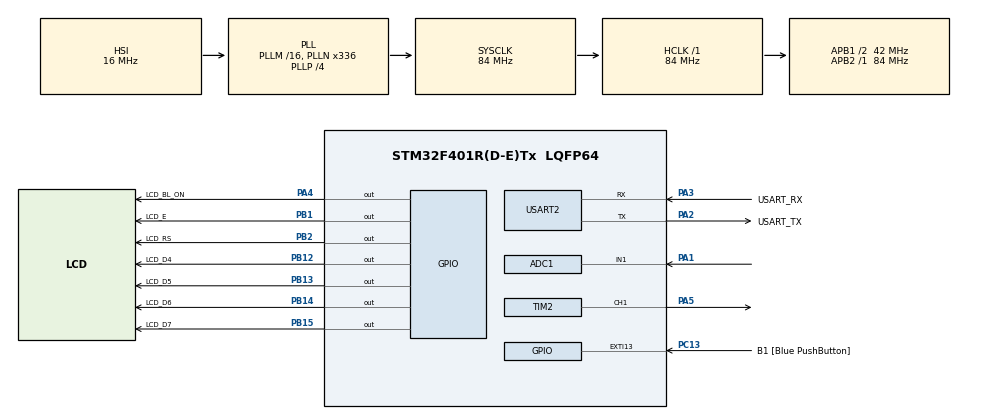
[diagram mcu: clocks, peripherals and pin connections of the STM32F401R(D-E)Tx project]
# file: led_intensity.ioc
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ADC1.Channel-0\#ChannelRegularConversion=ADC_CHANNEL_1
ADC1.ExternalTrigConv=ADC_EXTERNALTRIGCONV_T2_TRGO
ADC1.NbrOfConversionFlag=1
ADC1.Rank-0\#ChannelRegularConversion=1
ADC1.SamplingTime-0\#ChannelRegularConversion=ADC_SAMPLETIME_480CYCLES
ADC1.master=1
Mcu.Family=STM32F4
Mcu.Name=STM32F401R(D-E)Tx
Mcu.Package=LQFP64
NVIC.ADC_IRQn=true\:0\:0\:false\:false\:true\:true\:true\:true
NVIC.PriorityGroup=NVIC_PRIORITYGROUP_0
PA1.Signal=ADCx_IN1
PA13.GPIO_Label=TMS
PA13.Mode=Serial_Wire
PA13.Signal=SYS_JTMS-SWDIO
PA14.GPIO_Label=TCK
PA14.Mode=Serial_Wire
PA14.Signal=SYS_JTCK-SWCLK
PA2.GPIO_Label=USART_TX
PA2.GPIO_Mode=GPIO_MODE_AF_PP
PA2.GPIO_PuPd=GPIO_NOPULL
PA2.GPIO_Speed=GPIO_SPEED_FREQ_LOW
PA2.Mode=Asynchronous
PA2.Signal=USART2_TX
PA3.GPIO_Label=USART_RX
PA3.GPIO_Mode=GPIO_MODE_AF_PP
PA3.GPIO_PuPd=GPIO_NOPULL
PA3.GPIO_Speed=GPIO_SPEED_FREQ_LOW
PA3.Mode=Asynchronous
PA3.Signal=USART2_RX
PA4.GPIO_Label=LCD_BL_ON
PA4.Signal=GPIO_Output
PA5.Signal=S_TIM2_CH1_ETR
PB1.GPIO_Label=LCD_E
PB1.Signal=GPIO_Output
PB12.GPIO_Label=LCD_D4
PB12.Signal=GPIO_Output
PB13.GPIO_Label=LCD_D5
PB13.Signal=GPIO_Output
PB14.GPIO_Label=LCD_D6
PB14.Signal=GPIO_Output
PB15.GPIO_Label=LCD_D7
PB15.Signal=GPIO_Output
PB2.GPIO_Label=LCD_RS
PB2.Signal=GPIO_Output
PB3.GPIO_Label=SWO
PB3.Signal=SYS_JTDO-SWO
PC13-ANTI_TAMP.GPIO_Label=B1 [Blue PushButton]
PC13-ANTI_TAMP.GPIO_ModeDefaultEXTI=GPIO_MODE_IT_FALLING
PC13-ANTI_TAMP.GPIO_PuPd=GPIO_NOPULL
PC13-ANTI_TAMP.Signal=GPXTI13
PC14-OSC32_IN.Mode=LSE-External-Oscillator
PC14-OSC32_IN.Signal=RCC_OSC32_IN
PC15-OSC32_OUT.Mode=LSE-External-Oscillator
PC15-OSC32_OUT.Signal=RCC_OSC32_OUT
PH0\ -\ OSC_IN.Mode=HSE-External-Clock-Source
PH0\ -\ OSC_IN.Signal=RCC_OSC_IN
PH1\ -\ OSC_OUT.Mode=HSE-External-Clock-Source
PH1\ -\ OSC_OUT.Signal=RCC_OSC_OUT
ProjectManager.HeapSize=0x200
ProjectManager.StackSize=0x400
ProjectManager.TargetToolchain=STM32CubeIDE
RCC.48MHZClocksFreq_Value=48000000
RCC.AHBFreq_Value=84000000
RCC.APB1CLKDivider=RCC_HCLK_DIV2
RCC.APB1Freq_Value=42000000
RCC.APB1TimFreq_Value=84000000
RCC.APB2Freq_Value=84000000
RCC.APB2TimFreq_Value=84000000
RCC.CortexFreq_Value=84000000
RCC.HCLKFreq_Value=84000000
RCC.HSE_VALUE=8000000
RCC.HSI_VALUE=16000000
RCC.PLLN=336
RCC.PLLP=RCC_PLLP_DIV4
RCC.PLLQ=7
RCC.SYSCLKFreq_VALUE=84000000
RCC.SYSCLKSource=RCC_SYSCLKSOURCE_PLLCLK
RCC.VCOOutputFreq_Value=336000000
SH.ADCx_IN1.0=ADC1_IN1,IN1
SH.S_TIM2_CH1_ETR.0=TIM2_CH1,PWM Generation1 CH1
TIM2.Channel-PWM\ Generation1\ CH1=TIM_CHANNEL_1
TIM2.Period=199
TIM2.Prescaler=8399
TIM2.TIM_MasterOutputTrigger=TIM_TRGO_UPDATE
TIM3.Period=4999
TIM3.Prescaler=8399
TIM3.TIM_MasterOutputTrigger=TIM_TRGO_UPDATE
USART2.VirtualMode=VM_ASYNC
VP_TIM2_VS_ClockSourceINT.Mode=Internal
VP_TIM3_VS_ClockSourceINT.Mode=Internal
board=NUCLEO-F401RE

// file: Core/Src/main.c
/* USER CODE BEGIN Header */
/**
  ******************************************************************************
  * @file           : main.c
  * @brief          : Main program body
  ******************************************************************************
  * @attention
  *
  * Copyright (c) 2024 STMicroelectronics.
  * All rights reserved.
  *
  * This software is licensed under terms that can be found in the LICENSE file
  * in the root directory of this software component.
  * If no LICENSE file comes with this software, it is provided AS-IS.
  *
  ******************************************************************************
  */
/* USER CODE END Header */
#include "main.h"

/* USER CODE BEGIN Includes */
#include <stdio.h>
#include <string.h>
#include "PMDB16_LCD.h"
/* USER CODE END Includes */

ADC_HandleTypeDef hadc1;

TIM_HandleTypeDef htim2;
TIM_HandleTypeDef htim3;

UART_HandleTypeDef huart2;

void SystemClock_Config(void);
static void MX_GPIO_Init(void);
static void MX_USART2_UART_Init(void);
static void MX_ADC1_Init(void);
static void MX_TIM2_Init(void);
static void MX_TIM3_Init(void);

/* USER CODE BEGIN 0 */
uint32_t value;	 //digital value read from ADC
float voltage;   //variable to contain voltage on ADC, calculated from value
char string[64]; //string to be sent through UART
uint16_t length; //length of string
/* USER CODE END 0 */

int main(void)
{

  /* MCU Configuration--------------------------------------------------------*/

  /* Reset of all peripherals, Initializes the Flash interface and the Systick. */
  HAL_Init();

  /* Configure the system clock */
  SystemClock_Config();

  /* Initialize all configured peripherals */
  MX_GPIO_Init();
  MX_USART2_UART_Init();
  MX_ADC1_Init();
  MX_TIM2_Init();
  MX_TIM3_Init();
  /* USER CODE BEGIN 2 */
  lcd_initialize();
  lcd_backlight_ON();
  HAL_TIM_Base_Start(&htim3);
  HAL_TIM_PWM_Start(&htim2, TIM_CHANNEL_1);
  HAL_ADC_Start_IT(&hadc1);
  /* USER CODE END 2 */

  /* Infinite loop */
  while (1)
  {

  }
}

void SystemClock_Config(void)
{
  RCC_OscInitTypeDef RCC_OscInitStruct = {0};
  RCC_ClkInitTypeDef RCC_ClkInitStruct = {0};

  /** Configure the main internal regulator output voltage
  */
  __HAL_RCC_PWR_CLK_ENABLE();
  __HAL_PWR_VOLTAGESCALING_CONFIG(PWR_REGULATOR_VOLTAGE_SCALE2);

  /** Initializes the RCC Oscillators according to the specified parameters
  * in the RCC_OscInitTypeDef structure.
  */
  RCC_OscInitStruct.OscillatorType = RCC_OSCILLATORTYPE_HSI;
  RCC_OscInitStruct.HSIState = RCC_HSI_ON;
  RCC_OscInitStruct.HSICalibrationValue = RCC_HSICALIBRATION_DEFAULT;
  RCC_OscInitStruct.PLL.PLLState = RCC_PLL_ON;
  RCC_OscInitStruct.PLL.PLLSource = RCC_PLLSOURCE_HSI;
  RCC_OscInitStruct.PLL.PLLM = 16;
  RCC_OscInitStruct.PLL.PLLN = 336;
  RCC_OscInitStruct.PLL.PLLP = RCC_PLLP_DIV4;
  RCC_OscInitStruct.PLL.PLLQ = 7;
  if (HAL_RCC_OscConfig(&RCC_OscInitStruct) != HAL_OK)
  {
    Error_Handler();
  }

  /** Initializes the CPU, AHB and APB buses clocks
  */
  RCC_ClkInitStruct.ClockType = RCC_CLOCKTYPE_HCLK|RCC_CLOCKTYPE_SYSCLK
                              |RCC_CLOCKTYPE_PCLK1|RCC_CLOCKTYPE_PCLK2;
  RCC_ClkInitStruct.SYSCLKSource = RCC_SYSCLKSOURCE_PLLCLK;
  RCC_ClkInitStruct.AHBCLKDivider = RCC_SYSCLK_DIV1;
  RCC_ClkInitStruct.APB1CLKDivider = RCC_HCLK_DIV2;
  RCC_ClkInitStruct.APB2CLKDivider = RCC_HCLK_DIV1;

  if (HAL_RCC_ClockConfig(&RCC_ClkInitStruct, FLASH_LATENCY_2) != HAL_OK)
  {
    Error_Handler();
  }
}

static void MX_ADC1_Init(void)
{

  ADC_ChannelConfTypeDef sConfig = {0};

  /** Configure the global features of the ADC (Clock, Resolution, Data Alignment and number of conversion)
  */
  hadc1.Instance = ADC1;
  hadc1.Init.ClockPrescaler = ADC_CLOCK_SYNC_PCLK_DIV4;
  hadc1.Init.Resolution = ADC_RESOLUTION_12B;
  hadc1.Init.ScanConvMode = DISABLE;
  hadc1.Init.ContinuousConvMode = DISABLE;
  hadc1.Init.DiscontinuousConvMode = DISABLE;
  hadc1.Init.ExternalTrigConvEdge = ADC_EXTERNALTRIGCONVEDGE_RISING;
  hadc1.Init.ExternalTrigConv = ADC_EXTERNALTRIGCONV_T2_TRGO;
  hadc1.Init.DataAlign = ADC_DATAALIGN_RIGHT;
  hadc1.Init.NbrOfConversion = 1;
  hadc1.Init.DMAContinuousRequests = DISABLE;
  hadc1.Init.EOCSelection = ADC_EOC_SINGLE_CONV;
  if (HAL_ADC_Init(&hadc1) != HAL_OK)
  {
    Error_Handler();
  }

  /** Configure for the selected ADC regular channel its corresponding rank in the sequencer and its sample time.
  */
  sConfig.Channel = ADC_CHANNEL_1;
  sConfig.Rank = 1;
  sConfig.SamplingTime = ADC_SAMPLETIME_480CYCLES;
  if (HAL_ADC_ConfigChannel(&hadc1, &sConfig) != HAL_OK)
  {
    Error_Handler();
  }

}

static void MX_TIM2_Init(void)
{

  TIM_ClockConfigTypeDef sClockSourceConfig = {0};
  TIM_MasterConfigTypeDef sMasterConfig = {0};
  TIM_OC_InitTypeDef sConfigOC = {0};

  htim2.Instance = TIM2;
  htim2.Init.Prescaler = 8399;
  htim2.Init.CounterMode = TIM_COUNTERMODE_UP;
  htim2.Init.Period = 199;
  htim2.Init.ClockDivision = TIM_CLOCKDIVISION_DIV1;
  htim2.Init.AutoReloadPreload = TIM_AUTORELOAD_PRELOAD_DISABLE;
  if (HAL_TIM_Base_Init(&htim2) != HAL_OK)
  {
    Error_Handler();
  }
  sClockSourceConfig.ClockSource = TIM_CLOCKSOURCE_INTERNAL;
  if (HAL_TIM_ConfigClockSource(&htim2, &sClockSourceConfig) != HAL_OK)
  {
    Error_Handler();
  }
  if (HAL_TIM_PWM_Init(&htim2) != HAL_OK)
  {
    Error_Handler();
  }
  sMasterConfig.MasterOutputTrigger = TIM_TRGO_UPDATE;
  sMasterConfig.MasterSlaveMode = TIM_MASTERSLAVEMODE_DISABLE;
  if (HAL_TIMEx_MasterConfigSynchronization(&htim2, &sMasterConfig) != HAL_OK)
  {
    Error_Handler();
  }
  sConfigOC.OCMode = TIM_OCMODE_PWM1;
  sConfigOC.Pulse = 0;
  sConfigOC.OCPolarity = TIM_OCPOLARITY_HIGH;
  sConfigOC.OCFastMode = TIM_OCFAST_DISABLE;
  if (HAL_TIM_PWM_ConfigChannel(&htim2, &sConfigOC, TIM_CHANNEL_1) != HAL_OK)
  {
    Error_Handler();
  }
  HAL_TIM_MspPostInit(&htim2);

}

static void MX_TIM3_Init(void)
{

  TIM_ClockConfigTypeDef sClockSourceConfig = {0};
  TIM_MasterConfigTypeDef sMasterConfig = {0};

  htim3.Instance = TIM3;
  htim3.Init.Prescaler = 8399;
  htim3.Init.CounterMode = TIM_COUNTERMODE_UP;
  htim3.Init.Period = 4999;
  htim3.Init.ClockDivision = TIM_CLOCKDIVISION_DIV1;
  htim3.Init.AutoReloadPreload = TIM_AUTORELOAD_PRELOAD_DISABLE;
  if (HAL_TIM_Base_Init(&htim3) != HAL_OK)
  {
    Error_Handler();
  }
  sClockSourceConfig.ClockSource = TIM_CLOCKSOURCE_INTERNAL;
  if (HAL_TIM_ConfigClockSource(&htim3, &sClockSourceConfig) != HAL_OK)
  {
    Error_Handler();
  }
  sMasterConfig.MasterOutputTrigger = TIM_TRGO_UPDATE;
  sMasterConfig.MasterSlaveMode = TIM_MASTERSLAVEMODE_DISABLE;
  if (HAL_TIMEx_MasterConfigSynchronization(&htim3, &sMasterConfig) != HAL_OK)
  {
    Error_Handler();
  }

}

static void MX_USART2_UART_Init(void)
{

  huart2.Instance = USART2;
  huart2.Init.BaudRate = 115200;
  huart2.Init.WordLength = UART_WORDLENGTH_8B;
  huart2.Init.StopBits = UART_STOPBITS_1;
  huart2.Init.Parity = UART_PARITY_NONE;
  huart2.Init.Mode = UART_MODE_TX_RX;
  huart2.Init.HwFlowCtl = UART_HWCONTROL_NONE;
  huart2.Init.OverSampling = UART_OVERSAMPLING_16;
  if (HAL_UART_Init(&huart2) != HAL_OK)
  {
    Error_Handler();
  }

}

static void MX_GPIO_Init(void)
{
  GPIO_InitTypeDef GPIO_InitStruct = {0};

  /* GPIO Ports Clock Enable */
  __HAL_RCC_GPIOC_CLK_ENABLE();
  __HAL_RCC_GPIOH_CLK_ENABLE();
  __HAL_RCC_GPIOA_CLK_ENABLE();
  __HAL_RCC_GPIOB_CLK_ENABLE();

  /*Configure GPIO pin Output Level */
  HAL_GPIO_WritePin(LCD_BL_ON_GPIO_Port, LCD_BL_ON_Pin, GPIO_PIN_RESET);

  /*Configure GPIO pin Output Level */
  HAL_GPIO_WritePin(GPIOB, LCD_E_Pin|LCD_RS_Pin|LCD_D4_Pin|LCD_D5_Pin
                          |LCD_D6_Pin|LCD_D7_Pin, GPIO_PIN_RESET);

  /*Configure GPIO pin : B1_Pin */
  GPIO_InitStruct.Pin = B1_Pin;
  GPIO_InitStruct.Mode = GPIO_MODE_IT_FALLING;
  GPIO_InitStruct.Pull = GPIO_NOPULL;
  HAL_GPIO_Init(B1_GPIO_Port, &GPIO_InitStruct);

  /*Configure GPIO pin : LCD_BL_ON_Pin */
  GPIO_InitStruct.Pin = LCD_BL_ON_Pin;
  GPIO_InitStruct.Mode = GPIO_MODE_OUTPUT_PP;
  GPIO_InitStruct.Pull = GPIO_NOPULL;
  GPIO_InitStruct.Speed = GPIO_SPEED_FREQ_LOW;
  HAL_GPIO_Init(LCD_BL_ON_GPIO_Port, &GPIO_InitStruct);

  /*Configure GPIO pins : LCD_E_Pin LCD_RS_Pin LCD_D4_Pin LCD_D5_Pin
                           LCD_D6_Pin LCD_D7_Pin */
  GPIO_InitStruct.Pin = LCD_E_Pin|LCD_RS_Pin|LCD_D4_Pin|LCD_D5_Pin
                          |LCD_D6_Pin|LCD_D7_Pin;
  GPIO_InitStruct.Mode = GPIO_MODE_OUTPUT_PP;
  GPIO_InitStruct.Pull = GPIO_NOPULL;
  GPIO_InitStruct.Speed = GPIO_SPEED_FREQ_LOW;
  HAL_GPIO_Init(GPIOB, &GPIO_InitStruct);

}

/* USER CODE BEGIN 4 */
/*
void HAL_TIM_PeriodElapsedCallback(TIM_HandleTypeDef *htim) {
	if (htim->Instance == TIM2) {
		HAL_ADC_Start_IT(&hadc1);
	}
}*/

void HAL_ADC_ConvCpltCallback(ADC_HandleTypeDef* hadc) {
	if (hadc->Instance == ADC1) {
		value = HAL_ADC_GetValue(&hadc1);
		voltage = value * 3.3/4096.0; // convert digital value to voltage

		uint32_t CCR_value = value * 199/4096;
		HAL_TIM_PWM_Stop(&htim2, TIM_CHANNEL_1);
		htim2.Instance->CCR1 = CCR_value;
		htim2.Instance->CNT = 0;
		HAL_TIM_PWM_Start(&htim2, TIM_CHANNEL_1);

		length = snprintf(string, sizeof(string), "Voltage: %.3f", voltage);
		lcd_println(string, 0);
		lcd_drawBar(value/4096.0*80.0);
	}
}
/* USER CODE END 4 */

void Error_Handler(void)
{
  __disable_irq();
  while (1)
  {
  }
}
